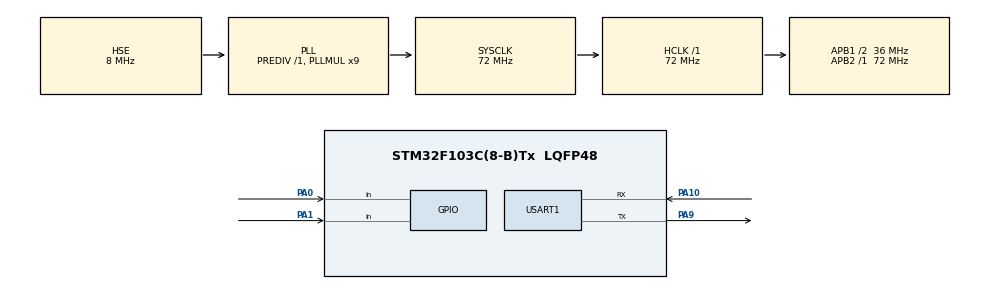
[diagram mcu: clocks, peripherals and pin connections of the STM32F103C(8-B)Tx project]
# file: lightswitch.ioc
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Mcu.Family=STM32F1
Mcu.Name=STM32F103C(8-B)Tx
Mcu.Package=LQFP48
NVIC.PriorityGroup=NVIC_PRIORITYGROUP_4
NVIC.TIM3_IRQn=true\:0\:0\:false\:false\:true\:true\:true
NVIC.USART1_IRQn=true\:0\:0\:false\:false\:true\:true\:true
PA0-WKUP.Signal=GPIO_Input
PA1.Signal=GPIO_Input
PA10.Mode=Asynchronous
PA10.Signal=USART1_RX
PA13.Mode=Serial_Wire
PA13.Signal=SYS_JTMS-SWDIO
PA14.Mode=Serial_Wire
PA14.Signal=SYS_JTCK-SWCLK
PA9.Mode=Asynchronous
PA9.Signal=USART1_TX
PD0-OSC_IN.Mode=HSE-External-Oscillator
PD0-OSC_IN.Signal=RCC_OSC_IN
PD1-OSC_OUT.Mode=HSE-External-Oscillator
PD1-OSC_OUT.Signal=RCC_OSC_OUT
ProjectManager.HeapSize=0x200
ProjectManager.StackSize=0x400
ProjectManager.TargetToolchain=MDK-ARM V5
RCC.AHBFreq_Value=72000000
RCC.APB1CLKDivider=RCC_HCLK_DIV2
RCC.APB1Freq_Value=36000000
RCC.APB1TimFreq_Value=72000000
RCC.APB2Freq_Value=72000000
RCC.APB2TimFreq_Value=72000000
RCC.HCLKFreq_Value=72000000
RCC.PLLMUL=RCC_PLL_MUL9
RCC.PLLSourceVirtual=RCC_PLLSOURCE_HSE
RCC.SYSCLKFreq_VALUE=72000000
RCC.SYSCLKSource=RCC_SYSCLKSOURCE_PLLCLK
RCC.USBFreq_Value=72000000
TIM3.Period=4999
TIM3.Prescaler=71
USART1.VirtualMode=VM_ASYNC
VP_TIM3_VS_ClockSourceINT.Mode=Internal
board=custom

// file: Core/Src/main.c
/* USER CODE BEGIN Header */
/**
  ******************************************************************************
  * @file           : main.c
  * @brief          : Main program body
  ******************************************************************************
  * @attention
  *
  * Copyright (c) 2022 STMicroelectronics.
  * All rights reserved.
  *
  * This software is licensed under terms that can be found in the LICENSE file
  * in the root directory of this software component.
  * If no LICENSE file comes with this software, it is provided AS-IS.
  *
  ******************************************************************************
  */
/* USER CODE END Header */
#include "main.h"

/* USER CODE BEGIN Includes */
#include "stdio.h"

/* USER CODE END Includes */

TIM_HandleTypeDef htim3;

UART_HandleTypeDef huart1;

void SystemClock_Config(void);
static void MX_GPIO_Init(void);
static void MX_USART1_UART_Init(void);
static void MX_TIM3_Init(void);

/* USER CODE BEGIN 0 */
int Count_time = 0;
int a;
int b;
int time;
float speed;
int flag1 = 0;
int flag2 = 0;
/* USER CODE END 0 */

int main(void)
{

  /* MCU Configuration--------------------------------------------------------*/

  /* Reset of all peripherals, Initializes the Flash interface and the Systick. */
  HAL_Init();

  /* Configure the system clock */
  SystemClock_Config();

  /* Initialize all configured peripherals */
  MX_GPIO_Init();
  MX_USART1_UART_Init();
  MX_TIM3_Init();
  /* USER CODE BEGIN 2 */
	HAL_TIM_Base_Start_IT(&htim3);
	HAL_TIM_Base_Start(&htim3);
  /* USER CODE END 2 */

  /* Infinite loop */
  while (1)
  {

    /* USER CODE BEGIN 3 */
		if(HAL_GPIO_ReadPin(GPIOA,GPIO_PIN_0) == 0)
		{
			if(flag1 == 0)
			{
				a = Count_time;
				flag1 = 1;
			}
		}
		if(HAL_GPIO_ReadPin(GPIOA,GPIO_PIN_1) == 0)
		{
			if(flag2 == 0)
			{
				b = Count_time;
				flag2 = 1;
			}
		}
		if(a!=0&&b!=0)
		{
			time = a-b;
			speed = 0.3/(time*0.005);
			if(speed > 0)
			{
				printf("%f\n",speed);
				printf("%d   %d\n",a,b);
				a = b = speed = time = flag1 = flag2 =0;
			}
			if(speed<0)
			{
				a = b = speed = time = flag1 = flag2 =0;
			}
		}
  /* USER CODE END 3 */
	}
}
void SystemClock_Config(void)
{
  RCC_OscInitTypeDef RCC_OscInitStruct = {0};
  RCC_ClkInitTypeDef RCC_ClkInitStruct = {0};

  /** Initializes the RCC Oscillators according to the specified parameters
  * in the RCC_OscInitTypeDef structure.
  */
  RCC_OscInitStruct.OscillatorType = RCC_OSCILLATORTYPE_HSE;
  RCC_OscInitStruct.HSEState = RCC_HSE_ON;
  RCC_OscInitStruct.HSEPredivValue = RCC_HSE_PREDIV_DIV1;
  RCC_OscInitStruct.HSIState = RCC_HSI_ON;
  RCC_OscInitStruct.PLL.PLLState = RCC_PLL_ON;
  RCC_OscInitStruct.PLL.PLLSource = RCC_PLLSOURCE_HSE;
  RCC_OscInitStruct.PLL.PLLMUL = RCC_PLL_MUL9;
  if (HAL_RCC_OscConfig(&RCC_OscInitStruct) != HAL_OK)
  {
    Error_Handler();
  }
  /** Initializes the CPU, AHB and APB buses clocks
  */
  RCC_ClkInitStruct.ClockType = RCC_CLOCKTYPE_HCLK|RCC_CLOCKTYPE_SYSCLK
                              |RCC_CLOCKTYPE_PCLK1|RCC_CLOCKTYPE_PCLK2;
  RCC_ClkInitStruct.SYSCLKSource = RCC_SYSCLKSOURCE_PLLCLK;
  RCC_ClkInitStruct.AHBCLKDivider = RCC_SYSCLK_DIV1;
  RCC_ClkInitStruct.APB1CLKDivider = RCC_HCLK_DIV2;
  RCC_ClkInitStruct.APB2CLKDivider = RCC_HCLK_DIV1;

  if (HAL_RCC_ClockConfig(&RCC_ClkInitStruct, FLASH_LATENCY_2) != HAL_OK)
  {
    Error_Handler();
  }
}

static void MX_TIM3_Init(void)
{

  TIM_ClockConfigTypeDef sClockSourceConfig = {0};
  TIM_MasterConfigTypeDef sMasterConfig = {0};

  htim3.Instance = TIM3;
  htim3.Init.Prescaler = 71;
  htim3.Init.CounterMode = TIM_COUNTERMODE_UP;
  htim3.Init.Period = 4999;
  htim3.Init.ClockDivision = TIM_CLOCKDIVISION_DIV1;
  htim3.Init.AutoReloadPreload = TIM_AUTORELOAD_PRELOAD_DISABLE;
  if (HAL_TIM_Base_Init(&htim3) != HAL_OK)
  {
    Error_Handler();
  }
  sClockSourceConfig.ClockSource = TIM_CLOCKSOURCE_INTERNAL;
  if (HAL_TIM_ConfigClockSource(&htim3, &sClockSourceConfig) != HAL_OK)
  {
    Error_Handler();
  }
  sMasterConfig.MasterOutputTrigger = TIM_TRGO_RESET;
  sMasterConfig.MasterSlaveMode = TIM_MASTERSLAVEMODE_DISABLE;
  if (HAL_TIMEx_MasterConfigSynchronization(&htim3, &sMasterConfig) != HAL_OK)
  {
    Error_Handler();
  }

}

static void MX_USART1_UART_Init(void)
{

  huart1.Instance = USART1;
  huart1.Init.BaudRate = 115200;
  huart1.Init.WordLength = UART_WORDLENGTH_8B;
  huart1.Init.StopBits = UART_STOPBITS_1;
  huart1.Init.Parity = UART_PARITY_NONE;
  huart1.Init.Mode = UART_MODE_TX_RX;
  huart1.Init.HwFlowCtl = UART_HWCONTROL_NONE;
  huart1.Init.OverSampling = UART_OVERSAMPLING_16;
  if (HAL_UART_Init(&huart1) != HAL_OK)
  {
    Error_Handler();
  }

}

static void MX_GPIO_Init(void)
{
  GPIO_InitTypeDef GPIO_InitStruct = {0};

  /* GPIO Ports Clock Enable */
  __HAL_RCC_GPIOD_CLK_ENABLE();
  __HAL_RCC_GPIOA_CLK_ENABLE();

  /*Configure GPIO pins : PA0 PA1 */
  GPIO_InitStruct.Pin = GPIO_PIN_0|GPIO_PIN_1;
  GPIO_InitStruct.Mode = GPIO_MODE_INPUT;
  GPIO_InitStruct.Pull = GPIO_NOPULL;
  HAL_GPIO_Init(GPIOA, &GPIO_InitStruct);

}

/* USER CODE BEGIN 4 */
int fputc(int ch,FILE *f)
{
	HAL_UART_Transmit(&huart1,(uint8_t *)&ch,1,HAL_MAX_DELAY);
	return ch;
}

int fgetc(FILE *f)
{
	uint8_t ch = 0;
	HAL_UART_Receive(&huart1,&ch,1,HAL_MAX_DELAY);
	return ch;
}

void HAL_TIM_PeriodElapsedCallback(TIM_HandleTypeDef *htim)
{
	if(htim->Instance == TIM3)
	{
		Count_time++;
	}
}

/* USER CODE END 4 */

void Error_Handler(void)
{
  __disable_irq();
  while (1)
  {
  }
}
